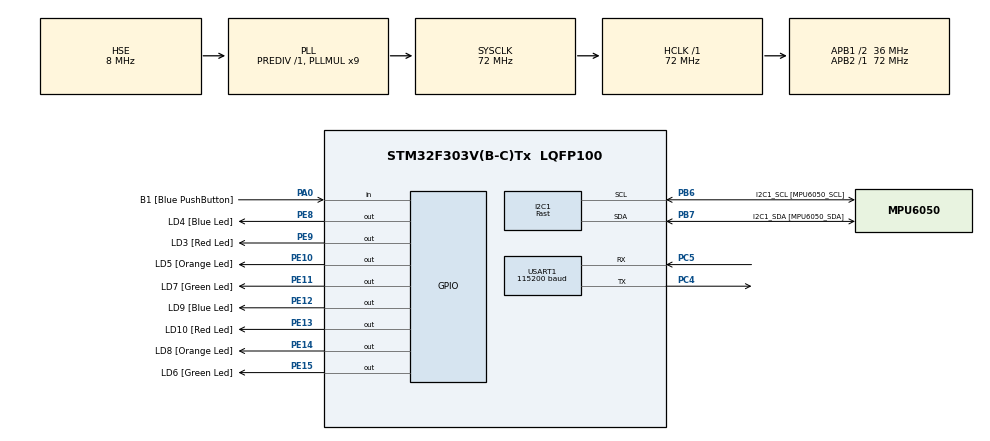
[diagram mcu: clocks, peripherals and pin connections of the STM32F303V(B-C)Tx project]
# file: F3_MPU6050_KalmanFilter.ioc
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Mcu.Family=STM32F3
RCC.CortexFreq_Value=72000000
NVIC.DMA1_Channel5_IRQn=true\:0\:0\:false\:false\:true\:false\:true
I2C1.I2C_Speed_Mode=I2C_Fast
PE11.GPIO_Label=LD7 [Green Led]
USART1.BaudRate=115200
RCC.SYSCLKSourceVirtual=RCC_SYSCLKSOURCE_PLLCLK
PA0.GPIO_Label=B1 [Blue PushButton]
PB6.GPIO_Label=I2C1_SCL [MPU6050_SCL]
PC5.Mode=Asynchronous
ProjectManager.StackSize=0x400
RCC.HCLKFreq_Value=72000000
RCC.APB2TimFreq_Value=72000000
PB6.Signal=I2C1_SCL
PB6.Mode=I2C
RCC.AHBFreq_Value=72000000
Dma.USART1_RX.0.Priority=DMA_PRIORITY_LOW
RCC.HSE_VALUE=8000000
RCC.PLLMUL=RCC_PLL_MUL9
PE13.Signal=GPIO_Output
PE9.Signal=GPIO_Output
PA14.Mode=Serial_Wire
PB7.Signal=I2C1_SDA
Dma.USART1_RX.0.MemInc=DMA_MINC_ENABLE
PE10.Signal=GPIO_Output
PA0.Signal=GPIO_Input
PB7.GPIO_Label=I2C1_SDA [MPU6050_SDA]
Mcu.Package=LQFP100
STMicroelectronics.X-CUBE-ALGOBUILD.1.2.0.LibraryCcDSPOoLibraryJjDSPOoLibrary=true
PE12.GPIO_Label=LD9 [Blue Led]
RCC.APB1TimFreq_Value=72000000
Dma.USART1_RX.0.Mode=DMA_NORMAL
PC5.Signal=USART1_RX
VP_STMicroelectronics.X-CUBE-ALGOBUILD_VS_DSPOoLibraryJjLibrary_1.2.0_1.2.0.Mode=DSPOoLibraryJjLibrary
NVIC.USART1_IRQn=true\:0\:0\:false\:false\:true\:true\:true
PF1-OSC_OUT.Mode=HSE-External-Oscillator
Dma.Request0=USART1_RX
PE10.GPIO_Label=LD5 [Orange Led]
Dma.USART1_RX.0.Instance=DMA1_Channel5
PF1-OSC_OUT.Signal=RCC_OSC_OUT
PC4.Mode=Asynchronous
RCC.PLLSourceVirtual=RCC_PLLSOURCE_HSE
Dma.USART1_RX.0.PeriphDataAlignment=DMA_PDATAALIGN_BYTE
PC4.GPIO_PuPd=GPIO_PULLDOWN
PC4.Signal=USART1_TX
PE14.GPIO_Label=LD8 [Orange Led]
RCC.APB1CLKDivider=RCC_HCLK_DIV2
PC5.GPIO_PuPd=GPIO_PULLDOWN
USART1.VirtualMode-Asynchronous=VM_ASYNC
PA13.Signal=SYS_JTMS-SWDIO
PE15.GPIO_Label=LD6 [Green Led]
ProjectManager.TargetToolchain=STM32CubeIDE
ARM.CMSIS.5.7.0.CMSISJjDSP=Library
Dma.USART1_RX.0.Direction=DMA_PERIPH_TO_MEMORY
PE8.GPIO_Label=LD4 [Blue Led]
I2C1.Timing=0x0000020B
RCC.USBFreq_Value=72000000
PE11.Signal=GPIO_Output
RCC.LSE_VALUE=32768
PE9.GPIO_Label=LD3 [Red Led]
Dma.USART1_RX.0.PeriphInc=DMA_PINC_DISABLE
PF0-OSC_IN.Mode=HSE-External-Oscillator
board=STM32F3DISCOVERY
RCC.APB2Freq_Value=72000000
PE14.Signal=GPIO_Output
PE15.Signal=GPIO_Output
PE8.Signal=GPIO_Output
I2C1.Timing-I2C=0x2000090E
Dma.USART1_RX.0.MemDataAlignment=DMA_MDATAALIGN_BYTE
PA13.Mode=Serial_Wire
Mcu.Name=STM32F303V(B-C)Tx
PE12.Signal=GPIO_Output
RCC.SYSCLKFreq_VALUE=72000000
PE13.GPIO_Label=LD10 [Red Led]
PB7.Mode=I2C
PA14.Signal=SYS_JTCK-SWCLK
ProjectManager.HeapSize=0x200
RCC.HSI_VALUE=8000000
NVIC.PriorityGroup=NVIC_PRIORITYGROUP_0
PF0-OSC_IN.Signal=RCC_OSC_IN
RCC.APB1Freq_Value=36000000

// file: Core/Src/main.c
/* USER CODE BEGIN Header */
/**
  ******************************************************************************
  * @file           : main.c
  * @brief          : Main program body
  ******************************************************************************
  * @attention
  *
  * <h2><center>&copy; Copyright (c) 2021 STMicroelectronics.
  * All rights reserved.</center></h2>
  *
  * This software component is licensed by ST under BSD 3-Clause license,
  * the "License"; You may not use this file except in compliance with the
  * License. You may obtain a copy of the License at:
  *                        opensource.org/licenses/BSD-3-Clause
  *
  ******************************************************************************
  */
/* USER CODE END Header */
#include "main.h"

/* USER CODE BEGIN Includes */
#include "mpu6050.h"
#include "CWrapper_KalmanFilter.h"
#include <math.h>
#include <stdlib.h>
/* USER CODE END Includes */

/* USER CODE BEGIN PTD */
#define deg_to_rad  3.142f / 180.0f

int delay_output = 50;
int refresh_rate = 1000;//us
uint32_t millis = 0.0;
uint32_t prev_millis = 0.0;
uint32_t Tick = 0.0;
uint32_t cycles = 0;
/* USER CODE END PTD */

I2C_HandleTypeDef hi2c1;

UART_HandleTypeDef huart1;
DMA_HandleTypeDef hdma_usart1_rx;

/* USER CODE BEGIN PV */
int Led_State = 0;
/* USER CODE END PV */

void SystemClock_Config(void);
static void MX_GPIO_Init(void);
static void MX_DMA_Init(void);
static void MX_I2C1_Init(void);
static void MX_USART1_UART_Init(void);
/* USER CODE BEGIN PFP */

float Ax, Ay, Az;
float Gx, Gy, Gz;//x:pitch, y:roll
float PITCH_Acc, ROLL_Acc, YAW_Acc;
float PITCH, ROLL, YAW;
float Angle_Gyro_Correction;
int Acc_TiefPass = 2;
/* USER CODE END PFP */

/* USER CODE BEGIN 0 */
#ifdef __GNUC__

  #define PUTCHAR_PROTOTYPE int __io_putchar(int ch)
#else
  #define PUTCHAR_PROTOTYPE int fputc(int ch, FILE *f)
#endif /* __GNUC__ */
/* USER CODE END 0 */

int main(void)
{

  /* MCU Configuration--------------------------------------------------------*/

  /* Reset of all peripherals, Initializes the Flash interface and the Systick. */
  HAL_Init();

  /* Configure the system clock */
  SystemClock_Config();

  /* USER CODE BEGIN SysInit */
  _init_get_us();

  /* USER CODE END SysInit */

  /* Initialize all configured peripherals */
  MX_GPIO_Init();
  MX_DMA_Init();
  MX_I2C1_Init();
  MX_USART1_UART_Init();
  /* USER CODE BEGIN 2 */
  while (MPU6050_Init() == 1){HAL_Delay(100); MX_I2C1_Init(); }; // mpu6050 init
  //MPU6050_ACC_CALIB();
  MPU6050_GYRO_CALIB();

  struct KalmanFilter *kalmanPITCH = newKalmanFilter(); // Create the Kalman instances
  struct KalmanFilter *kalmanROLL = newKalmanFilter();

  char result[20];
  /* USER CODE END 2 */

  /* Infinite loop */
  /* USER CODE BEGIN WHILE */
  while (1)
  {
	  millis = HAL_GetTick();
	  //MPU6050_GET_ACC (&Ax, &Ay, &Az);
	  MPU6050_GET_GYRO (&Gx, &Gy, &Gz);
	  _get_acc_angle(&PITCH_Acc, &ROLL_Acc);
	  Tick = get_us();
	  _init_get_us();

	  PITCH = KalmanFilter_getAngle(kalmanPITCH, PITCH_Acc, Gx, ROLL, Gz, Tick * 1e-6) + ROLL * sin(Gz * Tick * 1e-6 * deg_to_rad);
	  ROLL  = KalmanFilter_getAngle(kalmanROLL, ROLL_Acc, Gy, PITCH, Gz, Tick * 1e-6) - PITCH * sin(Gz * Tick * 1e-6 * deg_to_rad);
	  //Angle_Gyro_Correction = PITCH;
	  //Angle_Gyro_Correction += ROLL * sin(Gz * Tick * 1e-6 * deg_to_rad);

	  snprintf(result, sizeof(result), "%.2f,%.2f\n", PITCH, ROLL);
	  //size_output = sizeof(result);

	  if(millis - prev_millis > delay_output){
		  printf(result);
		  prev_millis = millis;
	  }
//*/
	  HAL_GPIO_TogglePin(LD10_GPIO_Port, LD10_Pin);
	  //while(Tick + get_us() < refresh_rate);
    /* USER CODE END WHILE */

  }
}

void SystemClock_Config(void)
{
  RCC_OscInitTypeDef RCC_OscInitStruct = {0};
  RCC_ClkInitTypeDef RCC_ClkInitStruct = {0};
  RCC_PeriphCLKInitTypeDef PeriphClkInit = {0};

  /** Initializes the RCC Oscillators according to the specified parameters
  * in the RCC_OscInitTypeDef structure.
  */
  RCC_OscInitStruct.OscillatorType = RCC_OSCILLATORTYPE_HSI|RCC_OSCILLATORTYPE_HSE;
  RCC_OscInitStruct.HSEState = RCC_HSE_ON;
  RCC_OscInitStruct.HSEPredivValue = RCC_HSE_PREDIV_DIV1;
  RCC_OscInitStruct.HSIState = RCC_HSI_ON;
  RCC_OscInitStruct.HSICalibrationValue = RCC_HSICALIBRATION_DEFAULT;
  RCC_OscInitStruct.PLL.PLLState = RCC_PLL_ON;
  RCC_OscInitStruct.PLL.PLLSource = RCC_PLLSOURCE_HSE;
  RCC_OscInitStruct.PLL.PLLMUL = RCC_PLL_MUL9;
  if (HAL_RCC_OscConfig(&RCC_OscInitStruct) != HAL_OK)
  {
    Error_Handler();
  }
  /** Initializes the CPU, AHB and APB buses clocks
  */
  RCC_ClkInitStruct.ClockType = RCC_CLOCKTYPE_HCLK|RCC_CLOCKTYPE_SYSCLK
                              |RCC_CLOCKTYPE_PCLK1|RCC_CLOCKTYPE_PCLK2;
  RCC_ClkInitStruct.SYSCLKSource = RCC_SYSCLKSOURCE_PLLCLK;
  RCC_ClkInitStruct.AHBCLKDivider = RCC_SYSCLK_DIV1;
  RCC_ClkInitStruct.APB1CLKDivider = RCC_HCLK_DIV2;
  RCC_ClkInitStruct.APB2CLKDivider = RCC_HCLK_DIV1;

  if (HAL_RCC_ClockConfig(&RCC_ClkInitStruct, FLASH_LATENCY_2) != HAL_OK)
  {
    Error_Handler();
  }
  PeriphClkInit.PeriphClockSelection = RCC_PERIPHCLK_USART1|RCC_PERIPHCLK_I2C1;
  PeriphClkInit.Usart1ClockSelection = RCC_USART1CLKSOURCE_PCLK2;
  PeriphClkInit.I2c1ClockSelection = RCC_I2C1CLKSOURCE_HSI;
  if (HAL_RCCEx_PeriphCLKConfig(&PeriphClkInit) != HAL_OK)
  {
    Error_Handler();
  }
}

static void MX_I2C1_Init(void)
{

  hi2c1.Instance = I2C1;
  hi2c1.Init.Timing = 0x0000020B;
  hi2c1.Init.OwnAddress1 = 0;
  hi2c1.Init.AddressingMode = I2C_ADDRESSINGMODE_7BIT;
  hi2c1.Init.DualAddressMode = I2C_DUALADDRESS_DISABLE;
  hi2c1.Init.OwnAddress2 = 0;
  hi2c1.Init.OwnAddress2Masks = I2C_OA2_NOMASK;
  hi2c1.Init.GeneralCallMode = I2C_GENERALCALL_DISABLE;
  hi2c1.Init.NoStretchMode = I2C_NOSTRETCH_DISABLE;
  if (HAL_I2C_Init(&hi2c1) != HAL_OK)
  {
    Error_Handler();
  }
  /** Configure Analogue filter
  */
  if (HAL_I2CEx_ConfigAnalogFilter(&hi2c1, I2C_ANALOGFILTER_ENABLE) != HAL_OK)
  {
    Error_Handler();
  }
  /** Configure Digital filter
  */
  if (HAL_I2CEx_ConfigDigitalFilter(&hi2c1, 0) != HAL_OK)
  {
    Error_Handler();
  }

}

static void MX_USART1_UART_Init(void)
{

  huart1.Instance = USART1;
  huart1.Init.BaudRate = 115200;
  huart1.Init.WordLength = UART_WORDLENGTH_8B;
  huart1.Init.StopBits = UART_STOPBITS_1;
  huart1.Init.Parity = UART_PARITY_NONE;
  huart1.Init.Mode = UART_MODE_TX_RX;
  huart1.Init.HwFlowCtl = UART_HWCONTROL_NONE;
  huart1.Init.OverSampling = UART_OVERSAMPLING_16;
  huart1.Init.OneBitSampling = UART_ONE_BIT_SAMPLE_DISABLE;
  huart1.AdvancedInit.AdvFeatureInit = UART_ADVFEATURE_NO_INIT;
  if (HAL_UART_Init(&huart1) != HAL_OK)
  {
    Error_Handler();
  }

}

static void MX_DMA_Init(void)
{

  /* DMA controller clock enable */
  __HAL_RCC_DMA1_CLK_ENABLE();

  /* DMA interrupt init */
  /* DMA1_Channel5_IRQn interrupt configuration */
  HAL_NVIC_SetPriority(DMA1_Channel5_IRQn, 0, 0);
  HAL_NVIC_EnableIRQ(DMA1_Channel5_IRQn);

}

static void MX_GPIO_Init(void)
{
  GPIO_InitTypeDef GPIO_InitStruct = {0};

  /* GPIO Ports Clock Enable */
  __HAL_RCC_GPIOF_CLK_ENABLE();
  __HAL_RCC_GPIOA_CLK_ENABLE();
  __HAL_RCC_GPIOC_CLK_ENABLE();
  __HAL_RCC_GPIOE_CLK_ENABLE();
  __HAL_RCC_GPIOB_CLK_ENABLE();

  /*Configure GPIO pin Output Level */
  HAL_GPIO_WritePin(GPIOE, LD4_Pin|LD3_Pin|LD5_Pin|LD7_Pin
                          |LD9_Pin|LD10_Pin|LD8_Pin|LD6_Pin, GPIO_PIN_RESET);

  /*Configure GPIO pin : B1_Pin */
  GPIO_InitStruct.Pin = B1_Pin;
  GPIO_InitStruct.Mode = GPIO_MODE_INPUT;
  GPIO_InitStruct.Pull = GPIO_NOPULL;
  HAL_GPIO_Init(B1_GPIO_Port, &GPIO_InitStruct);

  /*Configure GPIO pins : LD4_Pin LD3_Pin LD5_Pin LD7_Pin
                           LD9_Pin LD10_Pin LD8_Pin LD6_Pin */
  GPIO_InitStruct.Pin = LD4_Pin|LD3_Pin|LD5_Pin|LD7_Pin
                          |LD9_Pin|LD10_Pin|LD8_Pin|LD6_Pin;
  GPIO_InitStruct.Mode = GPIO_MODE_OUTPUT_PP;
  GPIO_InitStruct.Pull = GPIO_NOPULL;
  GPIO_InitStruct.Speed = GPIO_SPEED_FREQ_LOW;
  HAL_GPIO_Init(GPIOE, &GPIO_InitStruct);

}

/* USER CODE BEGIN 4 */
//
PUTCHAR_PROTOTYPE
{

  HAL_UART_Transmit(&huart1, (uint8_t *)&ch, 1, 0xFFFF);
  //HAL_UART_Transmit_IT(&huart1, (uint8_t *)&ch, size_output);

  return ch;
}
//*/

void _init_get_us(void)
{
	/* DWT struct is defined inside the core_cm4.h file */
	DWT->CTRL |= 1 ; // enable the counter
	DWT->CYCCNT = 0; // reset the counter
}

uint32_t get_us(void)
{
	return (uint32_t) DWT->CYCCNT/ (SystemCoreClock/1000000L);
}
/* USER CODE END 4 */

void Error_Handler(void)
{
  __disable_irq();
  while (1)
  {
  }
}

/************************ (C) COPYRIGHT STMicroelectronics *****END OF FILE****/
